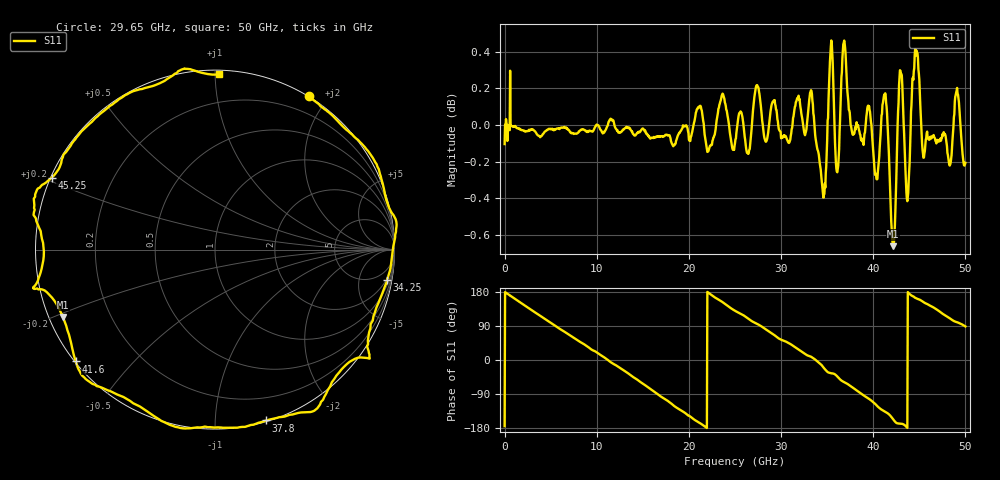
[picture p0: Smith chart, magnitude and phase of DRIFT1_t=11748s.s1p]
!Created with skrf (http://scikit-rf.org).
# Hz S RI R 50.0
!freq ReS11 ImS11
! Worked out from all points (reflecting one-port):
!   1001 points, 300 kHz to 50 GHz, reference 50 ohm
!   lowest |S11| = -0.7 dB at 42.15 GHz (marker M1), VSWR 26.31, Z = 1.99 - j10.6 ohm
!   phase of S11 starts at -175 deg and turns -817 deg over the sweep
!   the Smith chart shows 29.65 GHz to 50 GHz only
!   S11 on the Smith chart (normalised r, x): 29.65 GHz: -0.00, +1.79; 34.25 GHz: 2, -11; 37.8 GHz: 0.01, -1.34; 41.6 GHz: 0.00, -0.35; 45.25 GHz: 0.00, +0.21; 50 GHz: 0.02, +1.03
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300000  -0.9836 -0.094
1.500291e9  -0.9056 0.4186
3.25028e9  -0.5916 0.8017
6.250262e9  0.2024 0.9776
9.500243e9  0.8923 0.4427
1.250022e10  0.9318 -0.3499
1.580021e10  0.2369 -0.9628
1.74002e10  -0.2242 -0.9678
1.875019e10  -0.5983 -0.7921
2.150017e10  -0.9933 -0.1502
2.345016e10  -0.9266 0.4156
2.500015e10  -0.6331 0.7595
2.740014e10  -0.0936 1.021
2.965012e10  0.5237 0.8547
3.125011e10  0.7864 0.619
3.31001e10  1.002 0.1768
3.425009e10  0.9598 -0.1673
3.520009e10  0.8557 -0.5645
3.750008e10  0.3725 -0.9325
3.780007e10  0.2856 -0.9519
3.955006e10  -0.22 -0.9878
4.160005e10  -0.7764 -0.6234
4.215005e10  -0.8475 -0.375
4.290004e10  -1.012 -0.2161
4.375004e10  -0.9557 0.0128
4.525003e10  -0.9104 0.4007
4.770001e10  -0.489 0.8655
5e10  0.0246 0.9763
